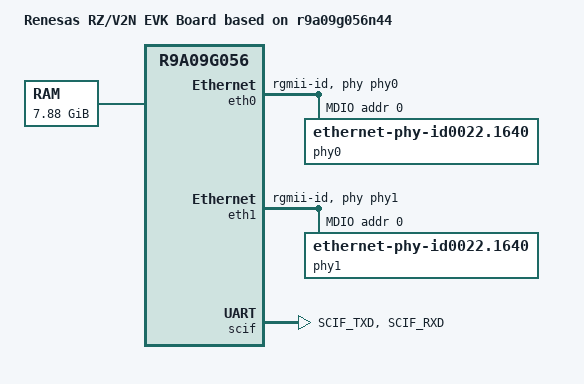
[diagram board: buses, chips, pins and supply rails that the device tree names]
// SPDX-License-Identifier: (GPL-2.0-only OR BSD-2-Clause)
/*
 * Device Tree Source for the RZ/V2N EVK board
 *
 * Copyright (C) 2024 Renesas Electronics Corp.
 */

/dts-v1/;

#include "r9a09g056.dtsi"

/ {
	model = "Renesas RZ/V2N EVK Board based on r9a09g056n44";
	compatible = "renesas,rzv2n-dev", "renesas,r9a09g056n44", "renesas,r9a09g056";

	aliases {
		serial0 = &scif;
		ethernet0 = &eth0;
		ethernet1 = &eth1;
	};

	chosen {
		bootargs = "ignore_loglevel";
		stdout-path = "serial0:115200n8";
	};

	memory@48000000 {
		device_type = "memory";
		/* first 128MB is reserved for secure area. */
		reg = <0x0 0x48000000 0x1 0xF8000000>;
	};

	reserved-memory {
		#address-cells = <2>;
		#size-cells = <2>;
		ranges;

		global_cma: linux,cma@58000000 {
			compatible = "shared-dma-pool";
			linux,cma-default;
			reusable;
			reg = <0x0 0x58000000 0x0 0x10000000>;
		};

		mmp_reserved: linux,multimedia {
			compatible = "shared-dma-pool";
			reusable;
			reg = <0x00000000 0x68000000 0x0 0x20000000>;
		};

		isp: ISP@90000000 {
			compatible = "shared-dma-pool";
			reusable;
			reg = <0x0 0x90000000 0x0 0x18000000>;
		};

		opencva_reserved: OpenCVA@A8000000 {
			reusable;
			reg = <0x0 0xA8000000 0x0 0x7CFF000>;
		};

		shared_drp_reserved: SharedDRP@AFCFF000 {
			reusable;
			reg = <0x0 0xAFCFF000 0x0 0x00001000>;
		};

		drp_codec: DRP-Codec@AFD00000 {
			reusable;
			reg = <0x0 0xAFD00000 0x0 0x300000>;
		};

		image_buf0: image_buf@B0000000 {
			compatible = "shared-dma-pool";
			reusable;
			reg = <0x0 0xB0000000 0x0 0x4000000>;
			label = "image_buf0";
		};

		cru_func: cru_buffer@B4000000 {
			compatible = "shared-dma-pool";
			reusable;
			reg = <0x0 0xB4000000 0x0 0x16400000>;
		};

		drp_reserved: DRP-AI@D0000000 {
			reusable;
			reg = <0x0 0xD0000000 0x0 0x20000000>;
		};
	};

	mmngr {
		compatible = "renesas,mmngr";
		memory-region = <&mmp_reserved>;
	};

	mmngrbuf {
		compatible = "renesas,mmngrbuf";
	};

	vspm_if {
		compatible = "renesas,vspm_if";
	};
};

&audio_extal_clk {
	clock-frequency = <22579200>;
};

&eth0 {
	phy-handle = <&phy0>;
	phy-mode = "rgmii-id";
	status = "okay";

	mdio {
		#address-cells = <1>;
		#size-cells = <0>;
		phy0: ethernet-phy@0 {
			compatible = "ethernet-phy-id0022.1640",
				     "ethernet-phy-ieee802.3-c22";
			reg = <0>;
			rxc-skew-psec = <1400>;
			txc-skew-psec = <1400>;
			rxdv-skew-psec = <0>;
			txdv-skew-psec = <0>;
			rxd0-skew-psec = <0>;
			rxd1-skew-psec = <0>;
			rxd2-skew-psec = <0>;
			rxd3-skew-psec = <0>;
			txd0-skew-psec = <0>;
			txd1-skew-psec = <0>;
			txd2-skew-psec = <0>;
			txd3-skew-psec = <0>;
		};
	};
};

&eth1 {
	phy-handle = <&phy1>;
	phy-mode = "rgmii-id";
	status = "okay";

	mdio {
		#address-cells = <1>;
		#size-cells = <0>;
		phy1: ethernet-phy@0 {
			compatible = "ethernet-phy-id0022.1640",
				     "ethernet-phy-ieee802.3-c22";
			reg = <0>;
			rxc-skew-psec = <1400>;
			txc-skew-psec = <1400>;
			rxdv-skew-psec = <0>;
			txdv-skew-psec = <0>;
			rxd0-skew-psec = <0>;
			rxd1-skew-psec = <0>;
			rxd2-skew-psec = <0>;
			rxd3-skew-psec = <0>;
			txd0-skew-psec = <0>;
			txd1-skew-psec = <0>;
			txd2-skew-psec = <0>;
			txd3-skew-psec = <0>;
		};
	};
};

&pinctrl {
	scif_pins: scif {
		pins = "SCIF_TXD", "SCIF_RXD";
		renesas,output-impedance = <1>;
	};
};

&qextal_clk {
	clock-frequency = <24000000>;
};

&rtxin_clk {
	clock-frequency = <32768>;
};

&scif {
	pinctrl-0 = <&scif_pins>;
	pinctrl-names = "default";

	status = "okay";
};
